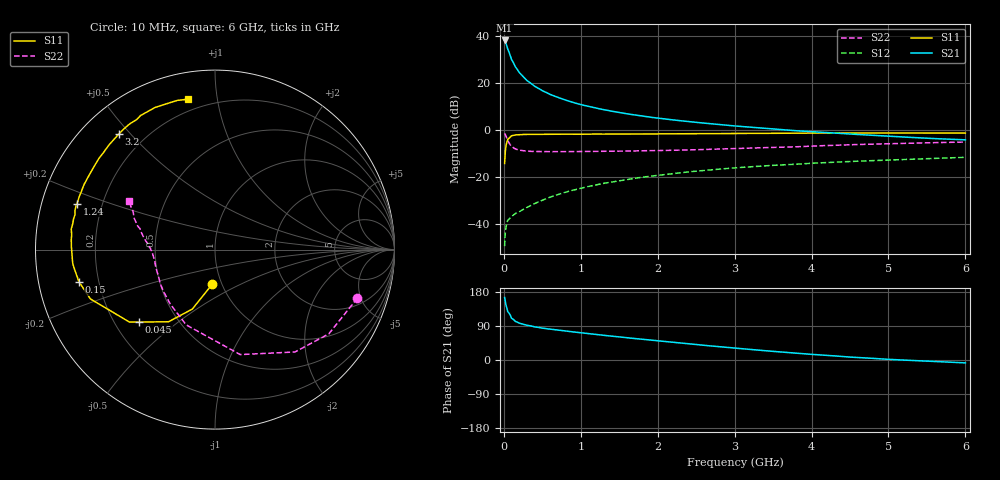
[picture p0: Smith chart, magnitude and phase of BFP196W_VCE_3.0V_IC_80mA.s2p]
! Infineon Technologies  Discrete & RF Semiconductors
! BFP196W
! VCE = 3.0 V,  IC =  80mA
! Common Emitter S-Parameters:  Jan 2016
# GHz  S  MA  R  50
!  f  S11  S21  S12  S22
! GHz  MAG  ANG  MAG  ANG  MAG  ANG  MAG  ANG
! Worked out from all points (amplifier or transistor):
!   210 points, 10 MHz to 6 GHz, reference 50 ohm
!   highest |S21| = 38.1 dB at 10 MHz (marker M1)
!   |S21| within 3 dB of that: start of sweep to 44.31 MHz
!   unconditionally stable (mu >= 1): 466.7 MHz to 3.371 GHz; 3.714 GHz to 3.828 GHz
!   at 185 MHz: K = 0.69, MSG = 30.2 dB, |S12| = -35.2 dB
!   at 1.52 GHz: K = 1.11, MAG = 12.4 dB, |S12| = -21.6 dB
!   at 6 GHz: K = 0.97, MSG = 3.7 dB, |S12| = -11.7 dB
!   S11 on the Smith chart (normalised r, x): 10 MHz: 0.90, -0.36; 45 MHz: 0.30, -0.37; 150 MHz: 0.13, -0.11; 1.24 GHz: 0.11, +0.16; 3.2 GHz: 0.11, +0.46; 6 GHz: 0.14, +0.83
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0.01  0.1918 -94.2  80.58 164.9  0.0033 78.1  0.8384 -18.8
0.02  0.3549 -110.9  75.77 153.5  0.0067 66.3  0.789 -36.5
0.03  0.4784 -122.8  68.16 143.1  0.0087 60.3  0.7238 -52.0
0.045  0.5838 -136.3  56.56 132.5  0.0109 51.1  0.6203 -69.6
0.05  0.6245 -139.7  53.25 128.0  0.0117 48.8  0.6015 -76.5
0.1  0.7467 -158.4  31.81 110.3  0.0142 40.9  0.4489 -111.0
0.15  0.7789 -166.7  22.07 101.8  0.0164 43.4  0.3921 -129.6
0.2  0.7896 -171.5  16.74 97.3  0.0179 46.7  0.3699 -140.8
0.26  0.7966 -174.9  13.11 93.5  0.0206 50.6  0.3573 -148.8
0.3  0.7967 -176.6  11.26 91.7  0.0221 52.8  0.35 -153.2
0.4  0.7998 179.3  8.505 87.5  0.0267 56.8  0.3456 -159.5
0.5  0.8029 176.4  6.842 84.2  0.0315 60.4  0.344 -163.9
0.6  0.8025 174.2  5.705 81.4  0.0365 62.1  0.3422 -167.1
0.8  0.8056 169.8  4.307 76.5  0.0467 64.4  0.3423 -170.7
1.02  0.805 165.7  3.393 71.5  0.0576 64.9  0.3451 -173.7
1.24  0.8112 161.6  2.811 66.5  0.069 64.4  0.3475 -175.7
2.02  0.8152 148.3  1.763 50.2  0.1082 59.7  0.3616 178.6
3.1  0.8345 131.4  1.176 29.8  0.1585 49.8  0.4023 170.2
3.2  0.8376 129.8  1.142 27.9  0.1626 48.8  0.407 169.5
4.1  0.8546 117.8  0.895 13.6  0.1972 40.7  0.4565 162.2
5.1  0.8563 107.3  0.716 0.8  0.2301 32.4  0.5088 154.5
6  0.8512 100.1  0.612 -7.6  0.2594 25.8  0.5488 150.3
